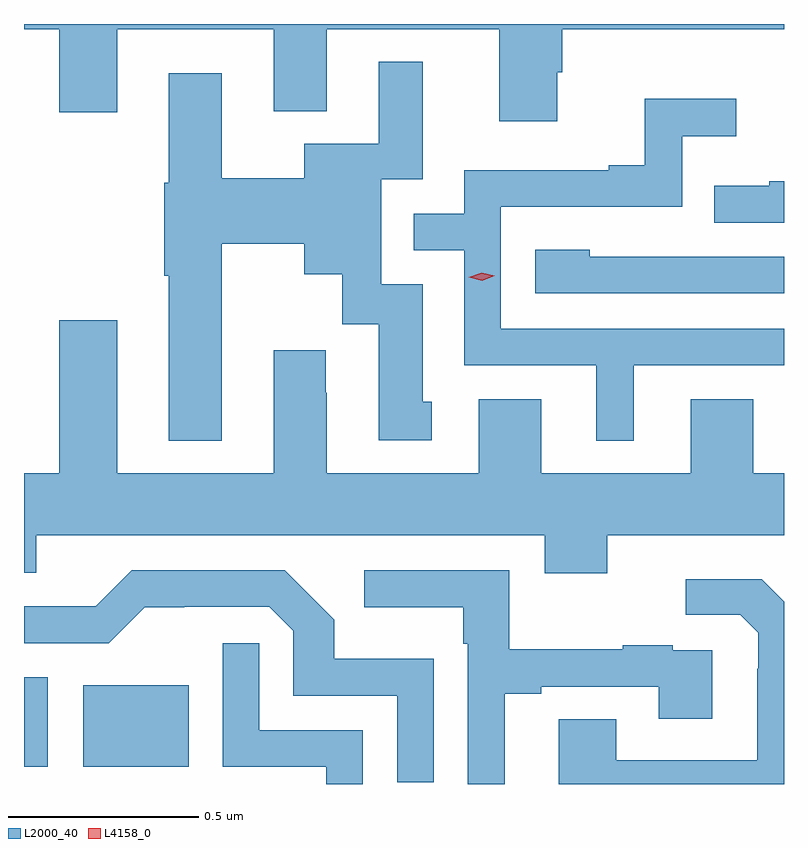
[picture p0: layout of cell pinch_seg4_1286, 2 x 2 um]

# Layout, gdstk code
import gdstk
lib = gdstk.Library(unit=1e-6, precision=1e-09)
def R(c, l, rs):  # rectangles x0, y0, x1, y1
    for r in rs: c.add(gdstk.rectangle(r[:2], r[2:], *l))
def P(c, l, *ps):  # polygons
    for p in ps: c.add(gdstk.Polygon(p, *l))
L2000_40 = (2000, 40)
L4158_0 = (4158, 0)

pinch_seg4_1286 = lib.new_cell('pinch_seg4_1286')
R(pinch_seg4_1286, L2000_40, [(253.628,758.915,253.69,759.151), (253.784,758.915,254.062,759.13)])
P(pinch_seg4_1286, L2000_40, [(255.031,760.743),(255.044,760.743),(255.044,760.856),(255.628,760.856),(255.628,760.87),(253.628,760.87),(253.628,760.856),(253.721,760.856),(253.721,760.638),(253.873,760.638),(253.873,760.856),(254.285,760.856),(254.285,760.64),(254.425,760.64),(254.425,760.856),(254.879,760.856),(254.879,760.614),(255.031,760.614)],
  [(254.149,760.292),(254.366,760.292),(254.366,760.211),(254.465,760.211),(254.465,760.08),(254.561,760.08),(254.561,759.774),(254.701,759.774),(254.701,759.876),(254.677,759.876),(254.677,760.185),(254.568,760.185),(254.568,760.461),(254.677,760.461),(254.677,760.771),(254.561,760.771),(254.561,760.555),(254.366,760.555),(254.366,760.464),(254.149,760.464),(254.149,760.741),(254.009,760.741),(254.009,760.452),(253.997,760.452),(253.997,760.208),(254.009,760.208),(254.009,759.773),(254.149,759.773)],
  [(255.232,759.972),(255.628,759.972),(255.628,760.068),(254.883,760.068),(254.883,760.389),(255.36,760.389),(255.36,760.574),(255.502,760.574),(255.502,760.673),(255.262,760.673),(255.262,760.498),(255.167,760.498),(255.167,760.485),(254.787,760.485),(254.787,760.371),(254.654,760.371),(254.654,760.275),(254.787,760.275),(254.787,759.972),(255.134,759.972),(255.134,759.773),(255.232,759.773)],
  [(255.628,760.456),(255.589,760.456),(255.589,760.444),(255.445,760.444),(255.445,760.347),(255.628,760.347)],
  [(255.628,760.257),(255.353,760.257),(255.353,760.258),(255.117,760.258),(255.117,760.276),(254.973,760.276),(254.973,760.161),(255.628,760.161)],
  [(255.163,759.524),(255.628,759.524),(255.628,759.688),(255.547,759.688),(255.547,759.883),(255.383,759.883),(255.383,759.688),(254.989,759.688),(254.989,759.883),(254.825,759.883),(254.825,759.688),(254.425,759.688),(254.425,759.899),(254.422,759.899),(254.422,760.012),(254.285,760.012),(254.285,759.688),(253.873,759.688),(253.873,760.09),(253.721,760.09),(253.721,759.688),(253.628,759.688),(253.628,759.426),(253.66,759.426),(253.66,759.524),(254.999,759.524),(254.999,759.425),(255.163,759.425)],
  [(254.706,759.199),(254.445,759.199),(254.445,759.302),(254.314,759.432),(253.911,759.432),(253.817,759.338),(253.628,759.338),(253.628,759.24),(253.851,759.24),(253.946,759.335),(254.05,759.335),(254.05,759.336),(254.274,759.336),(254.337,759.273),(254.337,759.102),(254.61,759.102),(254.61,758.874),(254.706,758.874)],
  [(254.893,759.108),(254.989,759.108),(254.989,759.126),(255.299,759.126),(255.299,759.042),(255.439,759.042),(255.439,759.222),(255.335,759.222),(255.335,759.235),(255.203,759.235),(255.203,759.224),(254.905,759.224),(254.905,759.432),(254.523,759.432),(254.523,759.335),(254.784,759.335),(254.784,759.239),(254.796,759.239),(254.796,758.87),(254.893,758.87)],
  [(255.628,759.35),(255.569,759.409),(255.369,759.409),(255.369,759.315),(255.513,759.315),(255.56,759.268),(255.56,759.173),(255.558,759.173),(255.558,758.932),(255.187,758.932),(255.187,759.041),(255.035,759.041),(255.035,758.87),(255.628,758.87)],
  [(254.52,759.012),(254.247,759.012),(254.247,759.241),(254.151,759.241),(254.151,758.916),(254.424,758.916),(254.424,758.87),(254.52,758.87)])
P(pinch_seg4_1286, L4158_0, [(254.834,760.195),(254.798,760.203),(254.798,760.203),(254.798,760.203),(254.832,760.215),(254.867,760.208),(254.867,760.208),(254.867,760.208)])

lib.write_gds('pinch_seg4_1286.gds')
